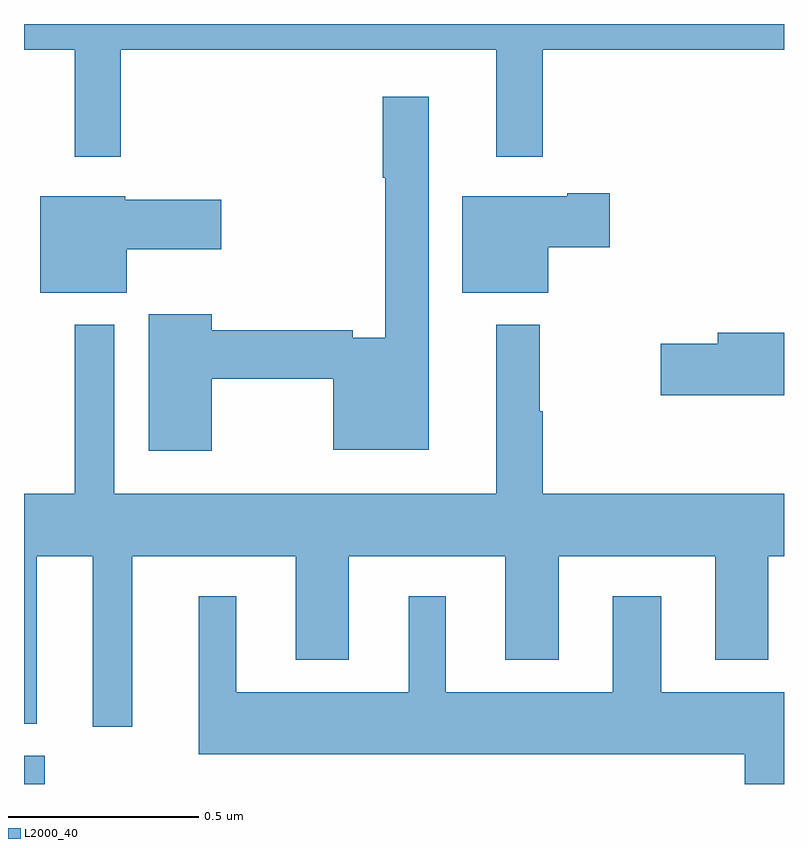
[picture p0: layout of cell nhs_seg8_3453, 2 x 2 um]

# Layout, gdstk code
import gdstk
lib = gdstk.Library(unit=1e-6, precision=1e-09)
def R(c, l, rs):  # rectangles x0, y0, x1, y1
    for r in rs: c.add(gdstk.rectangle(r[:2], r[2:], *l))
def P(c, l, *ps):  # polygons
    for p in ps: c.add(gdstk.Polygon(p, *l))
L2000_40 = (2000, 40)

nhs_seg8_3453 = lib.new_cell('nhs_seg8_3453')
R(nhs_seg8_3453, L2000_40, [(157,1115.9,157.054,1115.974)])
P(nhs_seg8_3453, L2000_40, [(157.255,1117.832),(158.243,1117.832),(158.243,1117.551),(158.365,1117.551),(158.365,1117.832),(159,1117.832),(159,1117.9),(157,1117.9),(157,1117.832),(157.133,1117.832),(157.133,1117.551),(157.255,1117.551)],
  [(157.494,1116.966),(157.814,1116.966),(157.814,1116.779),(158.065,1116.779),(158.065,1117.708),(157.944,1117.708),(157.944,1117.495),(157.951,1117.495),(157.951,1117.074),(157.865,1117.074),(157.865,1117.094),(157.494,1117.094),(157.494,1117.136),(157.328,1117.136),(157.328,1116.777),(157.494,1116.777)],
  [(158.38,1117.313),(158.542,1117.313),(158.542,1117.455),(158.429,1117.455),(158.429,1117.447),(158.153,1117.447),(158.153,1117.193),(158.38,1117.193)],
  [(157.27,1117.307),(157.519,1117.307),(157.519,1117.437),(157.266,1117.437),(157.266,1117.447),(157.043,1117.447),(157.043,1117.193),(157.27,1117.193)],
  [(157.285,1116.5),(157.715,1116.5),(157.715,1116.227),(157.855,1116.227),(157.855,1116.5),(158.267,1116.5),(158.267,1116.227),(158.407,1116.227),(158.407,1116.5),(158.819,1116.5),(158.819,1116.227),(158.959,1116.227),(158.959,1116.5),(159,1116.5),(159,1116.664),(158.365,1116.664),(158.365,1116.881),(158.357,1116.881),(158.357,1117.108),(158.243,1117.108),(158.243,1116.664),(157.237,1116.664),(157.237,1117.108),(157.133,1117.108),(157.133,1116.664),(157,1116.664),(157,1116.059),(157.033,1116.059),(157.033,1116.5),(157.181,1116.5),(157.181,1116.051),(157.285,1116.051)],
  [(159,1117.088),(158.825,1117.088),(158.825,1117.058),(158.676,1117.058),(158.676,1116.923),(159,1116.923)],
  [(159,1116.142),(158.677,1116.142),(158.677,1116.394),(158.549,1116.394),(158.549,1116.142),(158.11,1116.142),(158.11,1116.394),(158.012,1116.394),(158.012,1116.142),(157.558,1116.142),(157.558,1116.394),(157.46,1116.394),(157.46,1115.978),(158.897,1115.978),(158.897,1115.9),(159,1115.9)])

lib.write_gds('nhs_seg8_3453.gds')
